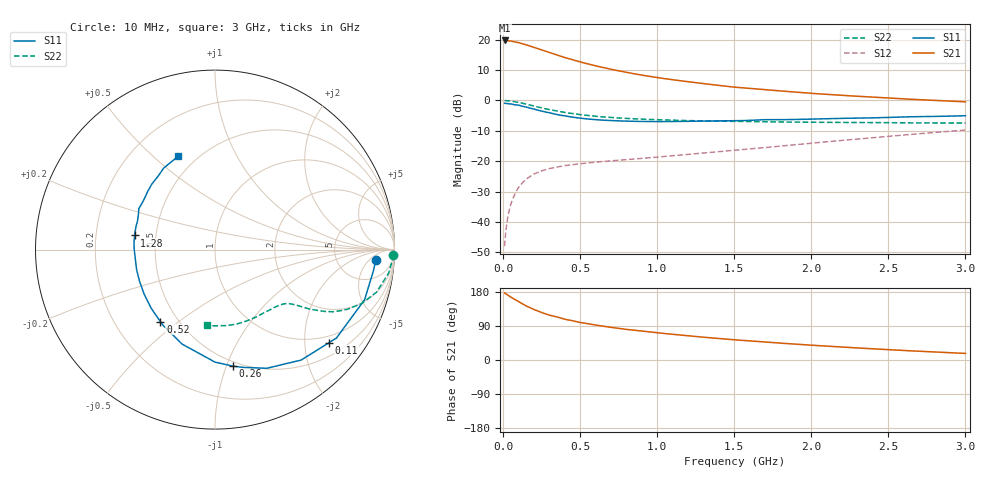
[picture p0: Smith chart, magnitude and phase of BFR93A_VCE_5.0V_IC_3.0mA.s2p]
! Infineon Technologies  Discrete & RF Semiconductors
! BFR93A
! VCE =  5.0 V,  IC =  3.0 mA
! Common Emitter S-Parameters:  Nov 2015
# GHz  S  MA  R  50
!  f  S11  S21  S12  S22
! GHz  MAG  ANG  MAG  ANG  MAG  ANG  MAG  ANG
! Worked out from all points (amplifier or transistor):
!   180 points, 10 MHz to 3 GHz, reference 50 ohm
!   highest |S21| = 19.7 dB at 10 MHz (marker M1)
!   |S21| within 3 dB of that: start of sweep to 244 MHz
!   unconditionally stable (mu >= 1): 889.1 MHz to 2.548 GHz
!   at 160 MHz: K = 0.24, MSG = 21.8 dB, |S12| = -25.5 dB
!   at 1.22 GHz: K = 1.12, MAG = 9.7 dB, |S12| = -17.7 dB
!   at 3 GHz: K = 0.93, MSG = 4.6 dB, |S12| = -9.7 dB
!   S11 on the Smith chart (normalised r, x): 10 MHz: 13, -8; 110 MHz: 0.82, -2.59; 260 MHz: 0.46, -1.06; 520 MHz: 0.40, -0.43; 1.28 GHz: 0.38, +0.08; 3 GHz: 0.40, +0.60
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0.01  0.8975 -3.8  9.677 177.0  0.004 87.4  0.994 -1.7
0.025  0.8866 -9.3  9.607 172.9  0.0098 82.8  0.9879 -4.0
0.05  0.8791 -18.5  9.474 166.0  0.0195 80.0  0.976 -7.8
0.1  0.837 -36.1  8.942 153.9  0.0369 70.9  0.9305 -14.8
0.11  0.8207 -39.1  8.772 151.8  0.0396 68.9  0.9176 -15.8
0.15  0.7803 -52.1  8.221 142.6  0.0508 63.1  0.8694 -20.3
0.155  0.7724 -53.4  8.139 141.7  0.0518 62.4  0.8631 -20.7
0.2  0.7215 -66.4  7.486 133.3  0.0614 57.6  0.8085 -24.3
0.26  0.6576 -81.1  6.639 123.9  0.0707 52.3  0.7431 -27.8
0.3  0.6268 -90.0  6.138 118.5  0.0755 49.9  0.7047 -29.3
0.4  0.5578 -109.1  5.07 107.6  0.0847 46.0  0.6316 -31.9
0.5  0.5114 -124.6  4.282 99.0  0.0909 44.1  0.582 -33.3
0.52  0.5037 -127.1  4.161 97.8  0.092 44.0  0.575 -33.5
0.6  0.4829 -137.5  3.699 92.1  0.0964 43.8  0.547 -34.4
0.7  0.466 -148.0  3.244 86.0  0.1014 44.3  0.5231 -35.4
0.8  0.4561 -157.1  2.89 80.8  0.1059 45.3  0.505 -36.6
1.02  0.4473 -174.1  2.329 71.0  0.1179 47.9  0.4793 -39.8
1.28  0.4551 170.0  1.915 60.9  0.1344 51.3  0.4606 -44.7
1.52  0.4617 158.9  1.636 52.7  0.1524 54.1  0.4493 -50.0
2.02  0.494 139.9  1.296 38.6  0.1996 57.1  0.4364 -63.2
2.52  0.5277 124.6  1.086 26.9  0.2592 56.4  0.4289 -78.5
3  0.5588 111.6  0.947 17.4  0.3259 52.8  0.4249 -95.9
